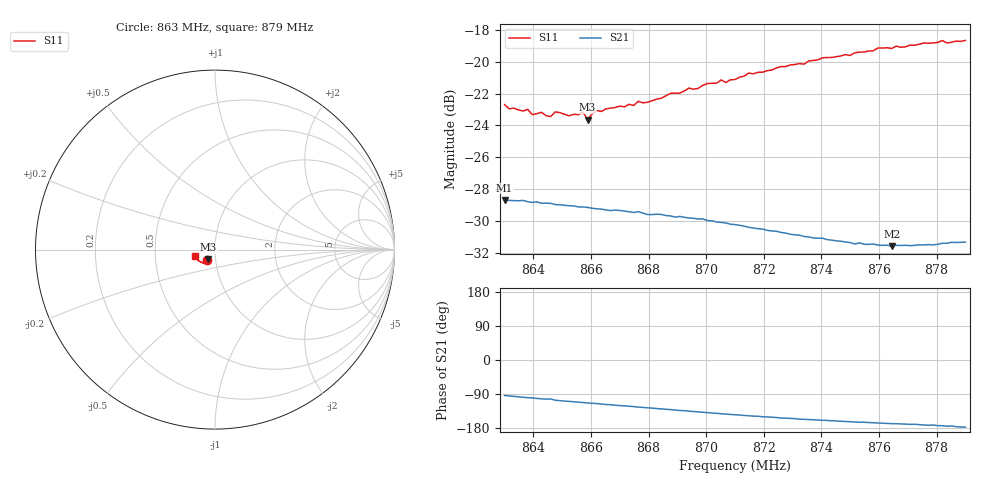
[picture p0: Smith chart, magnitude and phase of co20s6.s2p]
# HZ S RI R 50
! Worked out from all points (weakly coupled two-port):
!   101 points, 863 MHz to 879 MHz, reference 50 ohm
!   highest |S21| = -28.69 dB at 863 MHz (marker M1); lowest = -31.6 dB at 876.44 MHz (marker M2)
!   lowest |S11| = -23.6 dB at 865.88 MHz (marker M3), VSWR 1.14, Z = 46.1 - j5.04 ohm
!   |S11| at or under -10 dB: start of sweep to end of sweep
!   S12 and S22 are empty: the file has one direction only
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8.63e8  -0.0465 -0.0567  -0.00225 -0.0367  0 0  0 0
8.6316e8  -0.0444 -0.0556  -0.00317 -0.0365  0 0  0 0
8.638e8  -0.0419 -0.0572  -0.00594 -0.0358  0 0  0 0
8.6396e8  -0.0393 -0.0558  -0.00627 -0.0356  0 0  0 0
8.6428e8  -0.0392 -0.0573  -0.00774 -0.0351  0 0  0 0
8.646e8  -0.0363 -0.0567  -0.00793 -0.035  0 0  0 0
8.6476e8  -0.0387 -0.0578  -0.00993 -0.0342  0 0  0 0
8.6524e8  -0.0363 -0.0571  -0.0116 -0.0333  0 0  0 0
8.6572e8  -0.0359 -0.0595  -0.0132 -0.0324  0 0  0 0
8.6588e8  -0.0372 -0.0543  -0.0139 -0.032  0 0  0 0
8.662e8  -0.0369 -0.0598  -0.0146 -0.0313  0 0  0 0
8.6844e8  -0.0376 -0.067  -0.0209 -0.0257  0 0  0 0
8.7052e8  -0.0474 -0.0738  -0.0246 -0.0193  0 0  0 0
8.7068e8  -0.0469 -0.0722  -0.0248 -0.0189  0 0  0 0
8.71e8  -0.0498 -0.0726  -0.0251 -0.0179  0 0  0 0
8.7148e8  -0.0535 -0.075  -0.0253 -0.0164  0 0  0 0
8.7372e8  -0.0693 -0.0735  -0.0259 -0.0106  0 0  0 0
8.7596e8  -0.0894 -0.065  -0.0258 -0.00633  0 0  0 0
8.7644e8  -0.0923 -0.0601  -0.0258 -0.00546  0 0  0 0
8.782e8  -0.1077 -0.045  -0.0267 -0.00313  0 0  0 0
8.7836e8  -0.1059 -0.0438  -0.0268 -0.00238  0 0  0 0
8.79e8  -0.1104 -0.0381  -0.0271 -0.00127  0 0  0 0
